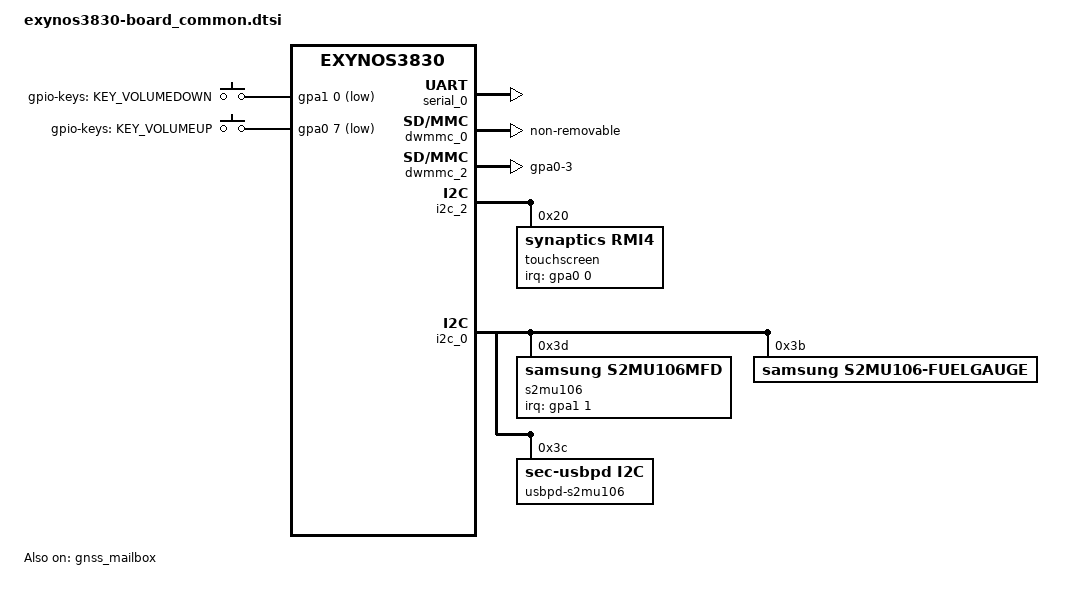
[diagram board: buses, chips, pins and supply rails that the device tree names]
/*
 * SAMSUNG EXYNOS9630 board common device tree source
 *
 * Copyright (c) 2019 Samsung Electronics Co., Ltd.
 *		http://www.samsung.com
 *
 * This program is free software; you can redistribute it and/or modify
 * it under the terms of the GNU General Public License version 2 as
 * published by the Free Software Foundation.
 */

#include <dt-bindings/interrupt-controller/exynos3830.h>

/ {
	fragment@common {
		target-path = "/";
		__overlay__ {
			#address-cells = <2>;
			#size-cells = <1>;

			fixed-rate-clocks {
				oscclk {
					compatible = "samsung,exynos9630-oscclk";
					clock-frequency = <26000000>;
				};
			};

			firmware {
				android {
					compatible = "android,firmware";
					vbmeta {
						compatible = "android,vbmeta";
						parts = "vbmeta,boot,system,vendor";
					};
				};
			};

			gpio_keys {
				status = "okay";
				compatible = "gpio-keys";
				pinctrl-names = "default";
				pinctrl-0 = <&key_voldown &key_volup>;

				button@1 {
					label = "gpio-keys: KEY_VOLUMEDOWN";
					linux,code = <114>;
					gpios = <&gpa1 0 0xf>;
				};
				button@2 {
					label = "gpio-keys: KEY_VOLUMEUP";
					linux,code = <115>;
					gpios = <&gpa0 7 0xf>;
				};
			};

			ifconn {
				status = "okay";
				compatible = "samsung,ifconn";
				ifconn,usbpd = "s2mu106";
				ifconn,muic = "s2mu106-muic";
			};

			gnss_mailbox: gnss_mailbox {
				status = "okay";
				compatible = "samsung,exynos-gnss-mailbox";

				reg = <0x0 0x11980000 0x180>; /* MAILBOX AP2GNSS */

				interrupt-parent = <&gic>;
				interrupts = <GIC_SPI INTREQ__MAILBOX_GNSS2AP IRQ_TYPE_LEVEL_HIGH>;

				mbox,name = "gnss_mailbox";
				mbox,id = <0>;
			};

			gnssif {
				status = "okay";
				compatible = "samsung,exynos-gnss";

				interrupt-parent = <&gic>;
				interrupts = <GIC_SPI INTREQ__ALIVE_GNSS_ACTIVE IRQ_TYPE_LEVEL_HIGH>,
						<GIC_SPI INTREQ__GNSS_WDOG_RESET IRQ_TYPE_EDGE_RISING>,
						<GIC_SPI INTREQ__GNSS_WAKEUP_INT IRQ_TYPE_LEVEL_HIGH>,
						<GIC_SPI INTREQ__GNSS_SW_INT IRQ_TYPE_EDGE_RISING>;
				interrupt-names = "ACTIVE", "WATCHDOG", "WAKEUP", "SW_INIT";
				shmem,name = "KEPLER";
				device_node_name = "gnss_ipc";

				/* Mailbox */
				mbox_info = <&gnss_mailbox>;

				/* ap2gnss */
				mbx,int_bcmd = <0>;
				mbx,int_req_fault_info = <1>;
				mbx,int_ipc_msg = <2>;
				mbx,int_ack_wake_set = <3>;
				mbx,int_ack_wake_clr = <4>;

				/* gnss2ap */
				mbx,irq_bcmd = <0>;
				mbx,irq_rsp_fault_info = <1>;
				mbx,irq_ipc_msg = <2>;
				mbx,irq_req_wake_clr = <4>;
				mbx,irq_simple_lock = <15>;

				mbx,reg_bcmd_ctrl = <0>, <1>, <2>, <3>;

				/* Memory */
				memory-region = <&gnss_rmem>;

				reg_rx_ipc_msg = <1 5>;
				reg_tx_ipc_msg = <1 4>;
				reg_rx_head = <1 3>;
				reg_rx_tail = <1 2>;
				reg_tx_head = <1 1>;
				reg_tx_tail = <1 0>;
				fault_info = <1 0x200000 0x180000>;

				shmem,gnss_code_offset = <0x00000000>;
				shmem,gnss_code_size = <0x00000000>;
				shmem,ipc_offset = <0x00380000>;
				shmem,ipc_size = <0x00080000>;
				shmem,ipc_reg_cnt = <32>;
			};

			but_zones: but_zones {
				#list-but-cells = <3>;
			};

			exynos_rgt {
				compatible = "samsung,exynos-rgt";
				num-acpm-pmic = <1>;
			};

		}; /* end of __overlay__ */
	}; /* end of fragment */
}; /* end of root */

&chosen {
	bootargs_ext = "";
};

&serial_0 {
	status = "okay";
};

&pinctrl_0 {
	attn_irq: attn-irq {
		samsung,pins = "gpa0-0";
		samsung,pin-function = <0xf>;
		samsung,pin-pud = <0>;
		samsung,pin-drv = <0>;
	};

	attn_input: attn-input {
		samsung,pins = "gpa0-0";
		samsung,pin-function = <0>;
		samsung,pin-pud = <1>;
	};

	key_voldown: key-voldown {
		samsung,pins = "gpa1-0";
		samsung,pin-function = <0xf>;
		samsung,pin-pud = <0>;
		samsung,pin-drv = <0>;
	};

	key_volup: key-volup {
		samsung,pins = "gpa0-7";
		samsung,pin-function = <0xf>;
		samsung,pin-pud = <0>;
		samsung,pin-drv = <0>;
	};

	dwmmc2_cd_ext_irq: dwmmc2_cd_ext_irq {
		samsung,pins = "gpa0-3";
		samsung,pin-function = <0xf>;
		samsung,pin-pud = <0>;
		samsung,pin-drv = <4>;
	};
};

&dwmmc_0 {
	#address-cells = <1>;
	#size-cells = <0>;
	status = "okay";
	num-slots = <1>;
	broken-cd;
	fixed_voltage;
	supports-highspeed;
	mmc-ddr-1_8v;
	mmc-hs200-1_8v;
	mmc-hs400-1_8v;
	supports-8bit;
	supports-cmd23;
	supports-erase;
	support-cmdq;
	support-cmd-logging;
	extended-tmout;
	mmc-hs400-enhanced-strobe;
	card-init-hwacg-ctrl;
	mmc-inline-crypt;
	qos-dvfs-level = <334000>;
	data-timeout = <500>;
	hto-timeout = <80>;
	enable-ulp-mode;
	fifo-depth = <0x40>;
	non-removable;
	desc-size = <4>;
	card-detect-delay = <200>;
	samsung,dw-mshc-ciu-div = <3>;
	samsung,dw-mshc-txdt-crc-timer-fastlimit = <0x34>;
	samsung,dw-mshc-txdt-crc-timer-initval = <0x38>;
	samsung,dw-mshc-hs400-tx-delay-line = <0x40>;
	samsung,dw-mshc-hs400-delay-line = <0x60>;
	samsung,dw-mshc-sdr-timing = <3 0 4 0>;
	samsung,dw-mshc-ddr-timing = <3 0 4 2>;
	samsung,dw-mshc-hs200-timing = <3 0 3 0>;
	samsung,dw-mshc-hs400-timing = <1 0 2 0>;
	samsung,dw-mshc-hs400-ulp-timing = <3 0 4 2>;

	num-ref-clks = <12>;
	ciu_clkin = <25 50 50 25 50 100 200 50 50 200 200 200>;

	/* Swapping clock drive strength */
	clk-drive-number = <4>;
	pinctrl-names = "default",
		"fast-slew-rate-1x",
		"fast-slew-rate-2x",
		"fast-slew-rate-3x",
		"fast-slew-rate-4x";
	pinctrl-0 = <&sd0_clk &sd0_cmd &sd0_rdqs &sd0_nreset &sd0_bus1 &sd0_bus4 &sd0_bus8>;
	pinctrl-1 = <&sd0_clk_fast_slew_rate_1x>;
	pinctrl-2 = <&sd0_clk_fast_slew_rate_2x>;
	pinctrl-3 = <&sd0_clk_fast_slew_rate_3x>;
	pinctrl-4 = <&sd0_clk_fast_slew_rate_4x>;

	slot@0 {
		reg = <0>;
		bus-width = <8>;
	};

};

&dwmmc_2 {
	#address-cells = <1>;
	#size-cells = <0>;
	status = "okay";
	num-slots = <1>;
	supports-4bit;
	supports-cmd23;
	supports-erase;
	supports-highspeed;
	sd-uhs-sdr50;
	sd-uhs-sdr104;
	card-detect-gpio;
	card-detect-invert;
	bypass-for-allpass;
	use-fine-tuning;
	card-init-hwacg-ctrl;
	skip-init-mmc-scan;
	use-runtime-pm;
	skip-init-no-tray;
	fifo-depth = <0x40>;
	data-timeout = <200>;
	hto-timeout = <80>;
	desc-size = <4>;
	ssc-rate = <3>;
	card-detect-delay = <200>;
	samsung,dw-mshc-ciu-div = <3>;
	clock-frequency = <800000000>;
	samsung,dw-mshc-sdr-timing = <3 0 2 0>;
	samsung,dw-mshc-ddr-timing = <3 0 2 1>;
	samsung,dw-mshc-sdr50-timing = <3 0 4 2>;
	samsung,dw-mshc-sdr104-timing = <3 0 3 0>;

	num-ref-clks = <9>;
	ciu_clkin = <25 50 50 25 50 100 200 50 50>;

	/* Swapping clock drive strength */
	clk-drive-number = <6>;
	pinctrl-names = "init",
		"fast-slew-rate-1x",
		"fast-slew-rate-1_5x",
		"fast-slew-rate-2x",
		"fast-slew-rate-2_5x",
		"fast-slew-rate-3x",
		"fast-slew-rate-4x",
		"pins-as-pdn",
		"pins-as-func";
	pinctrl-0 = <&sd2_clk &sd2_cmd &sd2_bus1 &sd2_bus4 &dwmmc2_cd_ext_irq>;
	pinctrl-1 = <&sd2_clk_fast_slew_rate_1x>;
	pinctrl-2 = <&sd2_clk_fast_slew_rate_1_5x>;
	pinctrl-3 = <&sd2_clk_fast_slew_rate_2x>;
	pinctrl-4 = <&sd2_clk_fast_slew_rate_2_5x>;
	pinctrl-5 = <&sd2_clk_fast_slew_rate_3x>;
	pinctrl-6 = <&sd2_clk_fast_slew_rate_4x>;
	pinctrl-7 = <&sd2_pins_as_pdn>;
	pinctrl-8 = <&sd2_clk &sd2_cmd &sd2_bus1 &sd2_bus4>;

	card-detect = <&gpa0 3 0xf>;
	slot@0 {
		reg = <0>;
		bus-width = <4>;
		disable-wp;
	};

	mmc-pmu-pad {
		offset = <0x1CA0>;
		mask = <0x800>;
		val = <0x800>;
	};
};

&pinctrl_5 {
	vdd_on: vdd-on {
		samsung,pins = "gpg2-6";
		samsung,pin-function = <1>;
		samsung,pin-val = <1>;
		samsung,pin-pud = <3>;
		samsung,pin-drv = <3>;
	};

	vdd_off: vdd-off {
		samsung,pins = "gpg2-6";
		samsung,pin-functon = <1>;
		samsung,pin-val = <0>;
		samsung,pin-pud = <1>;
		samsung,pin-drv = <3>;
	};
};

&i2c_2 {
	status = "okay";
	#address-cells = <1>;
	#size-cells = <0>;
	touchscreen@20 {
		compatible = "synaptics,rmi4";
		reg = <0x20>;
		pinctrl-names = "on_state", "off_state";
		pinctrl-0 = <&attn_irq &vdd_on>;
		pinctrl-1 = <&attn_input &vdd_off>;
		synaptics,irq_gpio = <&gpa0 0 0>;
		synaptics,irq_type = <8200>;
		synaptics,max_coords = <1440 2560>;     /* x y */
		synaptics,num_lines = <29 16>;          /* rx tx */
		synaptics,regulator_avdd = "vdd_ldo27";
	};
};

&i2c_0 {
	#address-cells = <1>;
	#size-cells = <0>;
	status = "okay";
	s2mu106@3d {
		compatible = "samsung,s2mu106mfd";
		reg = <0x3d>;
		pinctrl-names = "default";
		pinctrl-0 = <&if_pmic_irq>;
		s2mu106,irq-gpio = <&gpa1 1 0>;
		s2mu106,wakeup;
	};

	s2mu106-charger {
		status = "okay";
		battery,charger_name = "s2mu106-charger";
		battery,chg_gpio_en = <0>;
		battery,chg_polarity_en = <0>;
		battery,chg_gpio_status = <0>;
		battery,chg_polarity_status = <0>;
		battery,chg_float_voltage = <4350>;
		battery,chg_recharge_vcell = <4250>;
		battery,chg_full_vcell = <4300>;
		battery,full_check_type = <2>;
		battery,full_check_type_2nd = <2>;
		battery,input_current_limit = <
			500 450 500 1200 500 1200 1200 1000 1000 1000
			1000 500 500 1200 1000 500 450>;
		battery,fast_charging_current =	<
			500 450 500 1200 500 1200 1200 1000 1000 1000
			1000 500 500 1200 1000 500 450>;
		battery,full_check_current_1st = <
			300 0 300 300 300 300 300 300 300 300
			300 300 300 300 300 300 0>;
		battery,full_check_current_2nd = <
			100 0 100 100 100 100 100 100 100 100
			100 100 100 100 100 100 0>;
	};

	s2mu106-fuelgauge@3B {
		compatible = "samsung,s2mu106-fuelgauge";
		reg = <0x3B>;
		pinctrl-names = "default";
		fuelgauge,fuel_alert_vol = <3400>;
		fuelgauge,fuel_alert_soc = <1>;
		fuelgauge,type_str = "SDI";
		fuelgauge,model_type = <1>;
	};

	usbpd-s2mu106@3C {
		compatible = "sec-usbpd,i2c";
		reg = <0x3C>;
		pinctrl-names = "default";
		pinctrl-0 = <&usbpd_irq>;
		usbpd,usbpd_int = <&gpa0 2 0>;

		pdic-manager {
			/* sink */
			pdic,max_power = <5000>;
			pdic_op_power = <2500>;
			pdic_max_voltage = <6000>;
			pdic_max_current = <2000>;
			pdic,min_current = <500>;

			pdic,giveback = <0>;
			pdic,usb_com_capable = <1>;
			pdic,no_usb_suspend = <1>;

			/* source */
			source,max_voltage = <5000>;
			source,min_voltage = <4000>;
			source,max_power = <2500>;

			/* sink cap */
			sink,capable_max_voltage = <5000>;
		};
	};
};
